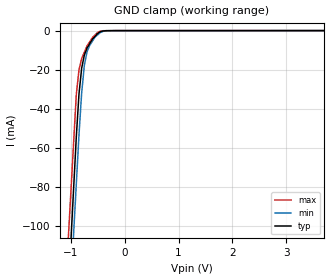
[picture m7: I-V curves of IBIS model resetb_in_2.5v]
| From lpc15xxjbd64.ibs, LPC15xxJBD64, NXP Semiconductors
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[Model] resetb_in_2.5v
Model_type Input
Vinl = 750.000mV
Vinh = 1.75000V
C_comp 1.24000pF 1.24000pF 1.24000pF
| variable typ   min   max
[Voltage Range] 2.50000V 2.25000V 2.75000V
[POWER Clamp Reference] 2.50000V 2.25000V 2.75000V
[GND Clamp Reference] 0.00000V 0.00000V 0.00000V
[Temperature Range]   25   85   -40
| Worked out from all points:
|   GND clamp passes 1 mA (typ) near -0.48 V on its own axis
[GND Clamp]
-2.5V     -906.9mA   -891.4mA   -825.8mA
-900mV    -54.57mA   -78.81mA   -32.9mA
-850mV    -32.5mA    -53.42mA   -20.13mA
-800mV    -19.24mA   -31.79mA   -14.28mA
-750mV    -12.5mA    -17.75mA   -11.05mA
-700mV    -8.937mA   -10.83mA   -7.821mA
-650mV    -6.659mA   -7.543mA   -5.691mA
-550mV    -2.887mA   -3.259mA   -2.226mA
-500mV    -1.393mA   -2.093mA   -891.3uA
-400mV    -178.4uA   -362.8uA   -64.73uA
-175mV    -8.125uA   -26.47uA   -11.28uA
5V        5.491uA    16.1uA     5.653uA
[POWER Clamp]
-2.5V     0A         0A         0A
5V        0A         0A         0A
